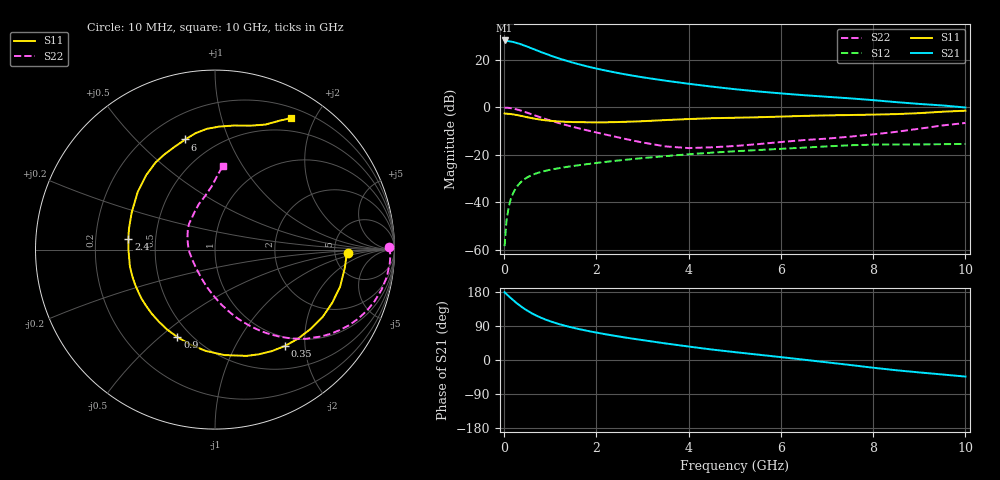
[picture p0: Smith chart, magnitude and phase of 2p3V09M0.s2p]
! (c) 2009  Infineon Technologies AG, Munich
! Infineon Technologies  Discrete & RF Semiconductors
! BFP420
! VCE =  3.0 V,  IC =  9.0 mA
! Common Emitter S-Parameters:  Nov 2009
# GHz  S  MA  R  50
!  f  S11  S21  S12  S22
! GHz  MAG  ANG  MAG  ANG  MAG  ANG  MAG  ANG
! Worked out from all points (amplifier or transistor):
!   46 points, 10 MHz to 10 GHz, reference 50 ohm
!   highest |S21| = 28.1 dB at 10 MHz (marker M1)
!   |S21| within 3 dB of that: start of sweep to 554.8 MHz
!   unconditionally stable (mu >= 1): 2.463 GHz to end of sweep
!   at 300 MHz: K = 0.18, MSG = 29.8 dB, |S12| = -32.8 dB
!   at 1.7 GHz: K = 0.78, MSG = 20.9 dB, |S12| = -24.2 dB
!   at 10 GHz: K = 1.09, MAG = 5.8 dB, |S12| = -15.4 dB
!   S11 on the Smith chart (normalised r, x): 10 MHz: 6.61, -0.56; 350 MHz: 0.84, -1.62; 900 MHz: 0.42, -0.57; 2.4 GHz: 0.35, +0.05; 6 GHz: 0.34, +0.71; 10 GHz: 0.33, +1.68
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0.01  0.7388 -1.5  25.34 178.9  0.0012 60.1  0.9708 0.8
0.02  0.7332 -3.1  24.68 177.5  0.0017 78.9  0.9775 -1.7
0.1  0.7272 -16.4  24.45 168.4  0.0082 80.9  0.9691 -9.1
0.2  0.7076 -32.0  23.47 157.6  0.016 74.4  0.9346 -17.9
0.3  0.6785 -47.0  22.06 147.4  0.0229 68.2  0.8846 -25.9
0.35  0.6631 -54.2  21.27 142.9  0.0259 65.4  0.8561 -29.6
0.45  0.6325 -67.3  19.64 134.3  0.0313 60.4  0.7965 -36.1
0.6  0.5899 -85.0  17.25 123.2  0.0375 54.5  0.7091 -44.5
0.7  0.5664 -95.4  15.79 117.0  0.0408 51.5  0.6557 -49.1
0.9  0.5307 -113.2  13.3 106.6  0.0462 47.3  0.5649 -56.8
1  0.519 -121.1  12.27 102.2  0.0485 45.7  0.5259 -60.2
1.2  0.5017 -134.7  10.54 94.4  0.0526 43.4  0.4601 -66.1
1.4  0.4922 -146.3  9.179 87.9  0.0565 41.8  0.4075 -71.4
1.7  0.4842 -160.8  7.645 79.6  0.0619 40.0  0.3442 -78.5
2.4  0.4863 172.9  5.398 63.8  0.0746 36.3  0.2409 -95.1
3.5  0.5375 143.2  3.613 43.7  0.0939 30.1  0.1501 -132.8
4.5  0.5875 124.4  2.715 27.7  0.1109 23.1  0.1437 -175.0
5.5  0.6155 111.4  2.149 14.2  0.1259 16.1  0.1675 156.4
6  0.6357 105.1  1.954 7.6  0.1334 12.7  0.1856 144.8
7  0.6742 93.9  1.658 -6.2  0.1502 4.7  0.2191 125.9
8.5  0.7174 74.2  1.28 -27.0  0.1649 -10.8  0.3039 100.4
10  0.8454 60.0  0.988 -43.7  0.1694 -21.1  0.4672 84.7
